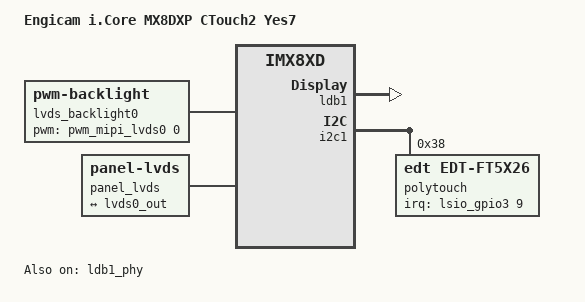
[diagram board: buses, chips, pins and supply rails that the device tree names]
// SPDX-License-Identifier: GPL-2.0+
/*
 * Copyright 2017-2020 NXP
 */

/dts-v1/;

#include "imx8xd-icore-ctouch2.dts"

/ {
    model = "Engicam i.Core MX8DXP CTouch2 Yes7";
    
  lvds_backlight0: lvds_backlight@0 {
		compatible = "pwm-backlight";
		pwms = <&pwm_mipi_lvds0 0 100000 0>;

		brightness-levels = < 0  1  2  3  4  5  6  7  8  9
				     10 11 12 13 14 15 16 17 18 19
				     20 21 22 23 24 25 26 27 28 29
				     30 31 32 33 34 35 36 37 38 39
				     40 41 42 43 44 45 46 47 48 49
				     50 51 52 53 54 55 56 57 58 59
				     60 61 62 63 64 65 66 67 68 69
				     70 71 72 73 74 75 76 77 78 79
				     80 81 82 83 84 85 86 87 88 89
				     90 91 92 93 94 95 96 97 98 99
				    100>;
		default-brightness-level = <80>;
	};
      
  panel_lvds: panel-lvds {
		compatible = "panel-lvds";

		width-mm = <210>;
		height-mm = <158>;
		data-mapping = "vesa-24";
		status = "okay";

		panel-timing {
			clock-frequency = <65000000>;
			hactive = <1024>;
			vactive = <600>;
			hsync-len = <136>;
			hfront-porch = <20>;
			hback-porch = <160>;
			vfront-porch = <3>;
			vback-porch = <29>;
			vsync-len = <6>;
		};

		port {
			panel_in_lvds: endpoint {
				remote-endpoint = <&lvds0_out>;
			};
		};
	};
};

&ldb1_phy {
	status = "okay";
};

&ldb1 {
	status = "okay";
  pinctrl-assert-gpios = <&lsio_gpio1 27 GPIO_ACTIVE_HIGH>;

	lvds-channel@0 {
		fsl,data-mapping = "spwg";
		fsl,data-width = <24>;
		status = "okay";

		port@1 {
			reg = <1>;

			lvds0_out: endpoint {
				remote-endpoint = <&panel_in_lvds>;
			};
		};
	};
};

&i2c1 {
	polytouch: edt-ft5x26@38 {
		compatible = "edt,edt-ft5x26";
		reg = <0x38>;
		pinctrl-names = "default";
		pinctrl-0 = <&pinctrl_touch1>;
		interrupt-parent = <&lsio_gpio3>;
		interrupts = <9 IRQ_TYPE_EDGE_FALLING>;
	};
};

&iomuxc {
    pinctrl_touch1: touch1_intgrp {
    fsl,pins = <
      IMX8QXP_QSPI0A_DATA0_LSIO_GPIO3_IO09	0x06000020
    >;
  };
};
